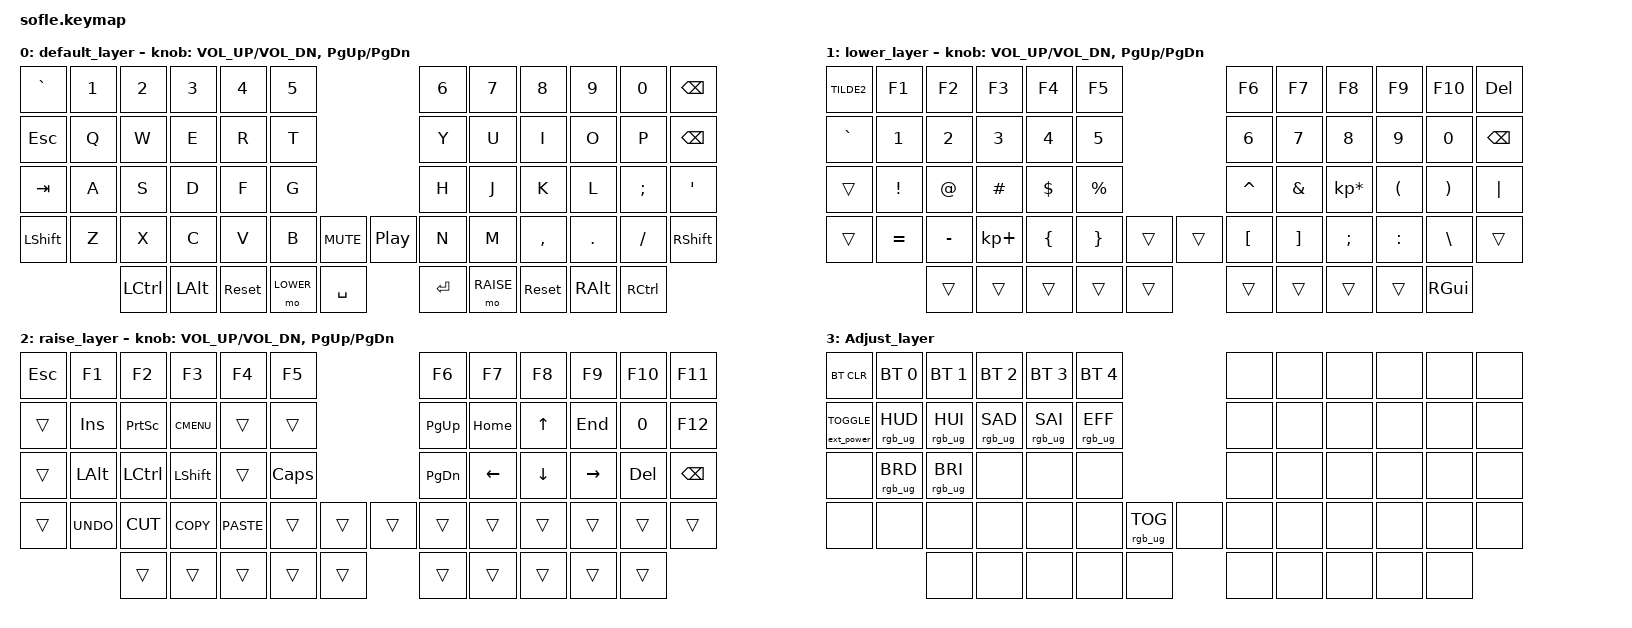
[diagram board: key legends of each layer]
#include <behaviors.dtsi>
#include <dt-bindings/zmk/keys.h>
#include <dt-bindings/zmk/bt.h>
#include <dt-bindings/zmk/rgb.h>
#include <dt-bindings/zmk/ext_power.h>

#define BASE 0
#define LOWER 1
#define RAISE 2
#define ADJUST 3

/ {

   // Activate ADJUST layer by pressing raise and lower
    conditional_layers {
        compatible = "zmk,conditional-layers";
        adjust_layer {
            if-layers = <LOWER RAISE>;
            then-layer = <ADJUST>;
        };
    };
   sensors {
        compatible = "zmk,keymap-sensors";
        sensors = <&left_encoder &right_encoder>;
        triggers-per-rotation = <1>;
    };

    keymap {
        compatible = "zmk,keymap";

        default_layer {
// ------------------------------------------------------------------------------------------------------------
// |  `    |  1  |  2  |  3   |  4   |  5   |                   |  6   |  7    |  8    |  9   |   0   | BKSPC |
// |  ESC  |  Q  |  W  |  E   |  R   |  T   |                   |  Y   |  U    |  I    |  O   |   P   | BKSPC |
// |  TAB  |  A  |  S  |  D   |  F   |  G   |                   |  H   |  J    |  K    |  L   |   ;   |   '   |
// | SHIFT |  Z  |  X  |  C   |  V   |  B   |  MUTE  |  |       |  N   |  M    |  ,    |  .   |   /   | SHIFT |
//               | CTRL | ALT |  RESET   | LOWER| SPACE  |  | ENTER | RAISE| RESET  | ALT   | CTRL |
            bindings = <
&kp GRAVE &kp N1 &kp N2    &kp N3   &kp N4    &kp N5                                &kp N6 &kp N7    &kp N8     &kp N9   &kp N0   &kp BSPC
&kp ESC   &kp Q  &kp W     &kp E    &kp R     &kp T                                 &kp Y  &kp U     &kp I      &kp O    &kp P    &kp BSPC
&kp TAB   &kp A  &kp S     &kp D    &kp F     &kp G                                 &kp H  &kp J     &kp K      &kp L    &kp SEMI &kp SQT
&kp LSHFT &kp Z  &kp X     &kp C    &kp V     &kp B      &kp C_MUTE      &kp C_PP   &kp N  &kp M     &kp COMMA  &kp DOT  &kp FSLH &kp RSHFT
                 &kp LCTRL &kp LALT &sys_reset &mo LOWER  &kp SPACE       &kp RET    &mo RAISE        &sys_reset &kp RALT &kp RCTRL
            >;

            sensor-bindings = <&inc_dec_kp C_VOL_UP C_VOL_DN &inc_dec_kp PG_UP PG_DN>;
        };

        lower_layer {

// ------------------------------------------------------------------------------------------------------------
// |  ~    |  F1 |  F2 |  F3  |  F4  |  F5  |                   |  F6  |  F7   |  F8   |  F9  |  F10  |  DEL   |
// |  `    |   1 |   2 |   3  |   4  |   5  |                   |   6  |   7   |   8   |   9  |    0  |  BKSPC |
// |       |  !  |  @  |  #   |  $   |  %   |                   |  ^   |  &    |  *    |  (   |   )   |   |    |
// |       |  =  |  -  |  +   |  {   |  }   |        |  |       |  [   |  ]    |  ;    |  :   |   \   |        |
//               |     |      |      |      |        |  |       |      |       |       |      |
            bindings = <
&kp TILDE2 &kp F1    &kp F2    &kp F3      &kp F4    &kp F5                    &kp F6    &kp F7   &kp F8          &kp F9    &kp F10   &kp DEL
&kp GRAVE  &kp N1    &kp N2    &kp N3      &kp N4    &kp N5                    &kp N6    &kp N7   &kp N8          &kp N9    &kp N0    &kp BSPC
&trans     &kp EXCL  &kp AT    &kp HASH    &kp DLLR  &kp PRCNT                 &kp CARET &kp AMPS &kp KP_MULTIPLY &kp LPAR  &kp RPAR  &kp PIPE
&trans     &kp EQUAL &kp MINUS &kp KP_PLUS &kp LBRC  &kp RBRC  &trans   &trans &kp LBKT  &kp RBKT &kp SEMI        &kp COLON &kp BSLH  &trans
                     &trans    &trans      &trans    &trans    &trans   &trans &trans    &trans   &trans          &kp RGUI
            >;

            sensor-bindings = <&inc_dec_kp C_VOL_UP C_VOL_DN &inc_dec_kp PG_UP PG_DN>;
        };

        raise_layer {
// ------------------------------------------------------------------------------------------------------------
// | ESC | F1   | F2   | F3    | F4    | F5   |                | F6   | F7   | F8    | F9   | F10   | F11   |
// |     | INS  | PSCR | GUI   |       |      |                | PGUP | HOME |   ^   | END  |       | F12   |
// |     | ALT  | CTRL | SHIFT |       | CAPS |                | PGDN |   <- |   v   |  ->  |  DEL  | BKSPC |
// |     | UNDO | CUT  | COPY  | PASTE |      |      |  |      |      |      |       |      |       |       |
//              |      |       |       |      |      |  |      |      |      |       |      |
            bindings = <
&kp ESC    &kp F1       &kp F2       &kp F3       &kp F4       &kp F5                   &kp F6    &kp F7    &kp F8   &kp F9    &kp F10 &kp F11
&trans     &kp INS      &kp PSCRN    &kp K_CMENU  &trans       &trans                   &kp PG_UP &kp HOME  &kp UP   &kp END   &kp N0  &kp F12
&trans     &kp LALT     &kp LCTRL    &kp LSHFT    &trans       &kp CLCK                 &kp PG_DN &kp LEFT  &kp DOWN &kp RIGHT &kp DEL &kp BSPC
&trans     &kp K_UNDO   &kp K_CUT    &kp K_COPY   &kp K_PASTE  &trans  &trans   &trans  &trans    &trans    &trans   &trans    &trans  &trans
                        &trans       &trans       &trans       &trans  &trans   &trans  &trans    &trans    &trans   &trans
            >;

            sensor-bindings = <&inc_dec_kp C_VOL_UP C_VOL_DN &inc_dec_kp PG_UP PG_DN>;
        };

// ------------------------------------------------------------------------------------------------------------
// |BTCLR | BT1   | BT2   |  BT3  |  BT4  |  BT5  |                |      |      |       |      |       |       |
// |EXTPWR|RGB_HUD|RGB_HUI|RGB_SAD|RGB_SAI|RGB_EFF|                |      |      |       |      |       |       |
// |      |RGB_BRD|RGB_BRI|       |       |       |                |      |      |       |      |       |       |
// |      |       |       |       |       |       |RGB_TOG| |      |      |      |       |      |       |       |
//                |       |       |       |       |       | |      |      |      |       |      |

        Adjust_layer {
        bindings = <
&bt BT_CLR                      &bt BT_SEL 0    &bt BT_SEL 1    &bt BT_SEL 2    &bt BT_SEL 3    &bt BT_SEL 4                                    &none &none &none &none &none &none
&ext_power EXT_POWER_TOGGLE_CMD &rgb_ug RGB_HUD &rgb_ug RGB_HUI &rgb_ug RGB_SAD &rgb_ug RGB_SAI &rgb_ug RGB_EFF                                 &none &none &none &none &none &none
&none                           &rgb_ug RGB_BRD &rgb_ug RGB_BRI &none           &none           &none                                           &none &none &none &none &none &none
&none                           &none           &none           &none           &none           &none               &rgb_ug RGB_TOG  &none      &none &none &none &none &none &none
                                                &none           &none           &none           &none               &none            &none      &none &none &none &none
        >;
        };

    };
};

// Override the CS pin for the nice!view
// From: https://discord.com/channels/719497620560543766/719909884769992755/1047232429481529354
// pad 7 on Sofle V2 RGB = D4 on the ProMicro = 022 Nice!Nano
&nice_view_spi {
    cs-gpios = <&pro_micro 4 GPIO_ACTIVE_HIGH>;
};
